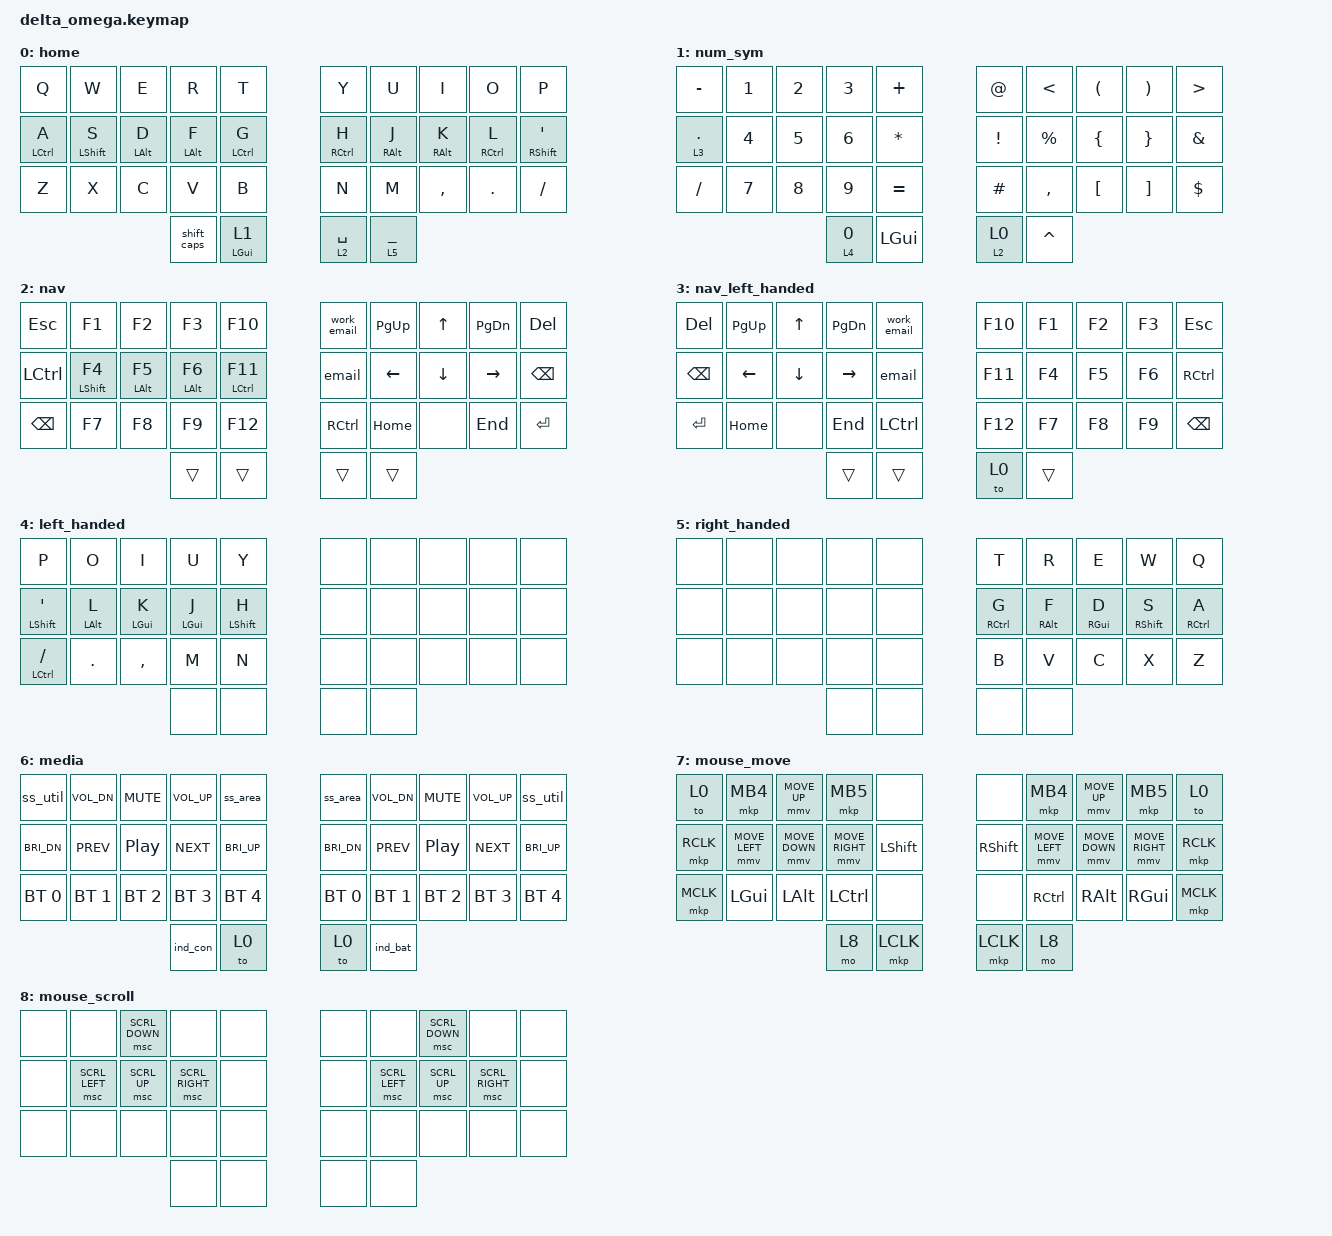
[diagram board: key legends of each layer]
#define ZMK_POINTING_DEFAULT_MOVE_VAL 4000
#define ZMK_POINTING_DEFAULT_SCRL_VAL 20

#include <behaviors.dtsi>
#include <dt-bindings/zmk/bt.h>
#include <dt-bindings/zmk/keys.h>
#include <dt-bindings/zmk/pointing.h>

&mt { flavor = "tap-preferred"; };

/ {
    combos {
        compatible = "zmk,combos";

        lock_screen {
            bindings = <&kp K_POWER>;
            key-positions = <0 20 29 9>;
            timeout-ms = <250>;
            layers = <2>;
        };

        minus {
            bindings = <&kp MINUS>;
            key-positions = <12 13>;
            layers = <0>;
        };

        semi {
            bindings = <&kp SEMI>;
            key-positions = <28 27>;
            layers = <0>;
        };

        semi_left_handed {
            bindings = <&kp SEMI>;
            key-positions = <21 22>;
            layers = <4>;
        };

        grave {
            bindings = <&kp GRAVE>;
            key-positions = <16 19>;
            layers = <0>;
        };

        grave_left_handed {
            bindings = <&kp GRAVE>;
            key-positions = <11 14>;
            layers = <4>;
        };

        bslash {
            bindings = <&kp BSLH>;
            key-positions = <29 26>;
            layers = <0>;
        };

        bslash_left_handed {
            bindings = <&kp BSLH>;
            key-positions = <20 23>;
            layers = <4>;
        };

        del_left_handed {
            bindings = <&kp DEL>;
            key-positions = <0 1>;
            layers = <4>;
        };

        to_zero_left {
            bindings = <&to 0>;
            key-positions = <0 3>;
            layers = <1 6 3>;
        };

        media_layer_right {
            bindings = <&to 6>;
            key-positions = <32 9>;
            layers = <0>;
        };

        bt_clr_combo {
            bindings = <&bt BT_CLR>;
            key-positions = <33 30>;
            layers = <6>;
        };

        minus_right_handed {
            bindings = <&kp MINUS>;
            key-positions = <16 17>;
            layers = <5>;
        };

        esc_right_handed {
            bindings = <&kp ESC>;
            key-positions = <8 9>;
            layers = <5>;
        };

        bspc_left_handed {
            bindings = <&kp BSPC>;
            key-positions = <20 21>;
            layers = <0 1>;
        };

        media_layer_left {
            bindings = <&to 6>;
            key-positions = <0 31>;
            timeout-ms = <150>;
            layers = <0>;
        };

        tab {
            bindings = <&kp TAB>;
            key-positions = <10 11>;
            layers = <0 1>;
        };

        enter {
            bindings = <&kp ENTER>;
            key-positions = <28 29>;
            layers = <0 1>;
        };

        bspc {
            bindings = <&kp BSPC>;
            key-positions = <18 19>;
            layers = <0 1>;
        };

        esc {
            bindings = <&kp ESC>;
            key-positions = <0 1>;
            layers = <0 1>;
        };

        del {
            bindings = <&kp DEL>;
            key-positions = <8 9>;
            layers = <0 1>;
        };

        spc_left_handed {
            bindings = <&kp SPACE>;
            key-positions = <10 11>;
            layers = <0 4 1>;
        };

        to_zero_right {
            bindings = <&to 0>;
            key-positions = <6 9>;
            layers = <1 6 3>;
        };

        enter_left_handed {
            bindings = <&kp ENTER>;
            key-positions = <20 21>;
            layers = <4>;
        };

        tab_right_handed {
            bindings = <&kp TAB>;
            key-positions = <18 19>;
            layers = <5>;
        };

        mouse_enable_right {
            bindings = <&to 7>;
            key-positions = <32 29>;
            layers = <0>;
        };

        mouse_enable_left {
            bindings = <&to 7>;
            key-positions = <31 20>;
            layers = <0>;
        };
    };

    macros {
        email: email {
            compatible = "zmk,behavior-macro";
            #binding-cells = <0>;
            bindings = <&none &kp A &kp B &kp E &kp E &kp R &kp DOT &kp V &kp A &kp I &kp S &kp H &kp N &kp A &kp V &kp N1 &kp N3 &kp AT &kp G &kp M &kp A &kp I &kp L &kp DOT &kp C &kp O &kp M>;
            label = "EMAIL";
        };

        work_email: work_email {
            compatible = "zmk,behavior-macro";
            #binding-cells = <0>;
            bindings = <&none &kp A &kp B &kp E &kp E &kp R &kp V &kp AT &kp G &kp O &kp O &kp G &kp L &kp E &kp DOT &kp C &kp O &kp M>;
            label = "WORK_EMAIL";
        };

        ss_area: ss_area {
            compatible = "zmk,behavior-macro";
            #binding-cells = <0>;
            bindings =
                <&macro_press>,
                <&kp LGUI &kp LSHIFT &kp NUMBER_4>,
                <&macro_release>,
                <&kp LGUI &kp LSHFT &kp N4>;

            label = "SS_AREA";
        };

        ss_util: ss_util {
            compatible = "zmk,behavior-macro";
            #binding-cells = <0>;
            bindings =
                <&macro_press>,
                <&kp LGUI &kp LSHIFT &kp N5>,
                <&macro_release>,
                <&kp LGUI &kp LSHFT &kp N5>;

            label = "SS_UTIL";
        };

        l0_spc: layer0_space {
            compatible = "zmk,behavior-macro";
            #binding-cells = <0>;
            bindings = <&to 0 &kp SPACE>;
            label = "LAYER0_SPACE";
        };
    };

    behaviors {
        shift_caps: shift_caps {
            compatible = "zmk,behavior-tap-dance";
            label = "SHIFT_CAPS";
            #binding-cells = <0>;
            bindings = <&kp LSHIFT>, <&caps_word>;

            tapping-term-ms = <200>;
        };

        kp_layer: kp_layer {
            compatible = "zmk,behavior-hold-tap";
            label = "KP_LAYER";
            bindings = <&kp>, <&to>;

            #binding-cells = <2>;
            tapping-term-ms = <200>;
            flavor = "hold-preferred";
        };

        mo_to: mo_to {
            compatible = "zmk,behavior-hold-tap";
            label = "MO_TO";
            #binding-cells = <2>;
            tapping-term-ms = <200>;
            flavor = "tap-preferred";
            bindings = <&mo>, <&to>;
        };
    };

    keymap {
        compatible = "zmk,keymap";

        home {
            bindings = <
&kp Q        &kp W        &kp E       &kp R        &kp T             &kp Y        &kp U        &kp I       &kp O        &kp P
&mt LCTRL A  &mt LSHFT S  &mt LALT D  &mt LALT F   &mt LCTRL G       &mt RCTRL H  &mt RALT J   &mt RALT K  &mt RCTRL L  &mt RSHIFT APOS
&kp Z        &kp X        &kp C       &kp V        &kp B             &kp N        &kp M        &kp COMMA   &kp DOT      &kp FSLH
                                      &shift_caps  &kp_layer LGUI 1  &lt 2 SPACE  &lt 5 UNDER
            >;
        };

        num_sym {
            bindings = <
&kp MINUS     &kp N1  &kp N2  &kp N3    &kp PLUS   &kp AT      &kp LT       &kp LPAR  &kp RPAR  &kp GT
&lt 3 PERIOD  &kp N4  &kp N5  &kp N6    &kp ASTRK  &kp EXCL    &kp PERCENT  &kp LBRC  &kp RBRC  &kp AMPS
&kp FSLH      &kp N7  &kp N8  &kp N9    &kp EQUAL  &kp HASH    &kp COMMA    &kp LBKT  &kp RBKT  &kp DOLLAR
                              &lt 4 N0  &kp LGUI   &mo_to 2 0  &kp CARET
            >;
        };

        nav {
            bindings = <
&kp ESC    &kp F1        &kp F2       &kp F3       &kp F10        &work_email  &kp PG_UP       &kp UP_ARROW    &kp PG_DN        &kp DEL
&kp LCTRL  &mt LSHFT F4  &mt LALT F5  &mt LALT F6  &mt LCTRL F11  &email       &kp LEFT_ARROW  &kp DOWN_ARROW  &kp RIGHT_ARROW  &kp BSPC
&kp BSPC   &kp F7        &kp F8       &kp F9       &kp F12        &kp RCTRL    &kp HOME        &none           &kp END          &kp ENTER
                                      &trans       &trans         &trans       &trans
            >;
        };

        nav_left_handed {
            bindings = <
&kp DEL    &kp PG_UP       &kp UP_ARROW    &kp PG_DN  &work_email  &kp F10  &kp F1  &kp F2  &kp F3  &kp ESC
&kp BSPC   &kp LEFT_ARROW  &kp DOWN_ARROW  &kp RIGHT  &email       &kp F11  &kp F4  &kp F5  &kp F6  &kp RCTRL
&kp ENTER  &kp HOME        &none           &kp END    &kp LCTRL    &kp F12  &kp F7  &kp F8  &kp F9  &kp BSPC
                                           &trans     &trans       &to 0    &trans
            >;
        };

        left_handed {
            bindings = <
&kp P            &kp O       &kp I       &kp U       &kp Y         &none  &none  &none  &none  &none
&mt LSHIFT APOS  &mt LALT L  &mt LGUI K  &mt LGUI J  &mt LSHIFT H  &none  &none  &none  &none  &none
&mt LCTRL FSLH   &kp DOT     &kp COMMA   &kp M       &kp N         &none  &none  &none  &none  &none
                                         &none       &none         &none  &none
            >;
        };

        right_handed {
            bindings = <
&none  &none  &none  &none  &none  &kp T        &kp R       &kp E       &kp W         &kp Q
&none  &none  &none  &none  &none  &mt RCTRL G  &mt RALT F  &mt RGUI D  &mt RSHIFT S  &mt RCTRL A
&none  &none  &none  &none  &none  &kp B        &kp V       &kp C       &kp X         &kp Z
                     &none  &none  &none        &none
            >;
        };

        media {
            bindings = <
&ss_util      &kp C_VOL_DN  &kp C_MUTE    &kp C_VOL_UP  &ss_area      &ss_area      &kp C_VOL_DN  &kp C_MUTE    &kp C_VOL_UP  &ss_util
&kp C_BRI_DN  &kp C_PREV    &kp C_PP      &kp C_NEXT    &kp C_BRI_UP  &kp C_BRI_DN  &kp C_PREV    &kp C_PP      &kp C_NEXT    &kp C_BRI_UP
&bt BT_SEL 0  &bt BT_SEL 1  &bt BT_SEL 2  &bt BT_SEL 3  &bt BT_SEL 4  &bt BT_SEL 0  &bt BT_SEL 1  &bt BT_SEL 2  &bt BT_SEL 3  &bt BT_SEL 4
                                          &ind_con      &to 0         &to 0         &ind_bat
            >;
        };

        mouse_move {
            bindings = <
&to 0      &mkp MB4        &mmv MOVE_UP    &mkp MB5         &none       &none       &mkp MB4        &mmv MOVE_UP    &mkp MB5         &to 0
&mkp RCLK  &mmv MOVE_LEFT  &mmv MOVE_DOWN  &mmv MOVE_RIGHT  &kp LSHIFT  &kp RSHIFT  &mmv MOVE_LEFT  &mmv MOVE_DOWN  &mmv MOVE_RIGHT  &mkp RCLK
&mkp MCLK  &kp LGUI        &kp LALT        &kp LCTRL        &none       &none       &kp RCTRL       &kp RALT        &kp RGUI         &mkp MCLK
                                           &mo 8            &mkp LCLK   &mkp LCLK   &mo 8
            >;
        };

        mouse_scroll {
            bindings = <
&none  &none           &msc SCRL_DOWN  &none            &none  &none  &none           &msc SCRL_DOWN  &none            &none
&none  &msc SCRL_LEFT  &msc SCRL_UP    &msc SCRL_RIGHT  &none  &none  &msc SCRL_LEFT  &msc SCRL_UP    &msc SCRL_RIGHT  &none
&none  &none           &none           &none            &none  &none  &none           &none           &none            &none
                                       &none            &none  &none  &none
            >;
        };
    };
};
